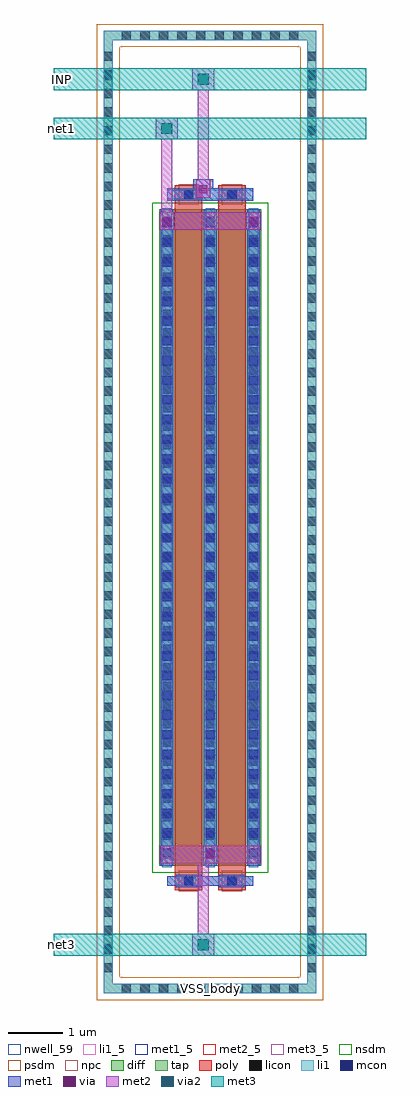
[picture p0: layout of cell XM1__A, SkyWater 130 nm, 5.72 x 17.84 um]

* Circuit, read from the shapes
.subckt XM1__A INP VSS_body net1 net3
XM1 net3 INP net1 VSS_body sky130_fd_pr__nfet_01v8 w=12 l=0.5 m=2
.ends

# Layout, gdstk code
import gdstk
lib = gdstk.Library(unit=1e-6, precision=1e-09)
def R(c, l, rs):  # rectangles x0, y0, x1, y1
    for r in rs: c.add(gdstk.rectangle(r[:2], r[2:], *l))
def A(c, l, x, y, w, h, nx, ny, dx, dy):  # array of equal rectangles
    R(c, l, [(x+i*dx, y+j*dy, x+i*dx+w, y+j*dy+h) for i in range(nx) for j in range(ny)])
nwell_59 = (64, 59)
diff = (65, 20)
tap = (65, 44)
poly = (66, 20)
licon = (66, 44)
li1_5 = (67, 5)
li1 = (67, 20)
mcon = (67, 44)
met1_5 = (68, 5)
met1 = (68, 20)
via = (68, 44)
met2_5 = (69, 5)
met2 = (69, 20)
via2 = (69, 44)
met3_5 = (70, 5)
met3 = (70, 20)
nsdm = (93, 44)
psdm = (94, 20)
npc = (95, 20)

sky130_fd_pr__nfet_01v8_ = lib.new_cell('sky130_fd_pr__nfet_01v8_BXZS2L')
R(sky130_fd_pr__nfet_01v8_, diff, [(-0.935,-6,0.935,6)])
R(sky130_fd_pr__nfet_01v8_, poly, [(-0.645,-6.44,-0.145,6.44), (0.145,-6.44,0.645,6.44)])
A(sky130_fd_pr__nfet_01v8_, licon, -0.875, -5.865, 0.17, 0.17, 3, 35, 0.79, 0.34)
R(sky130_fd_pr__nfet_01v8_, licon, [(-0.48,-6.36,-0.31,-6.19), (0.31,-6.36,0.48,-6.19), (-0.48,6.19,-0.31,6.36), (0.31,6.19,0.48,6.36)])
A(sky130_fd_pr__nfet_01v8_, li1, -0.875, -6.02, 0.17, 12.04, 3, 1, 0.79, 0)
R(sky130_fd_pr__nfet_01v8_, li1, [(-0.79,-6.36,0.79,-6.19), (-0.79,6.19,0.79,6.36)])
A(sky130_fd_pr__nfet_01v8_, mcon, -0.875, -5.845, 0.17, 0.17, 3, 33, 0.79, 0.36)
R(sky130_fd_pr__nfet_01v8_, mcon, [(-0.48,-6.36,-0.31,-6.19), (0.31,-6.36,0.48,-6.19), (-0.48,6.19,-0.31,6.36), (0.31,6.19,0.48,6.36)])
A(sky130_fd_pr__nfet_01v8_, met1, -0.905, -6, 0.23, 12, 3, 1, 0.79, 0)
R(sky130_fd_pr__nfet_01v8_, met1, [(-0.625,-6.39,-0.165,-6.36), (0.165,-6.39,0.625,-6.36), (-0.79,-6.36,0.79,-6.19), (-0.625,-6.19,-0.165,-6.16), (0.165,-6.19,0.625,-6.16), (-0.625,6.16,-0.165,6.19), (0.165,6.16,0.625,6.19), (-0.79,6.19,0.79,6.36), (-0.625,6.36,-0.165,6.39), (0.165,6.36,0.625,6.39)])
R(sky130_fd_pr__nfet_01v8_, nsdm, [(-1.06,-6.125,1.06,6.125)])
R(sky130_fd_pr__nfet_01v8_, npc, [(-0.58,-6.46,-0.21,-6.09), (0.21,-6.46,0.58,-6.09), (-0.58,6.09,-0.21,6.46), (0.21,6.09,0.58,6.46)])
sky130_fd_pr__nfet_01v8_.add(gdstk.Label('D0', (-0.79,0), layer=67, texttype=5))
sky130_fd_pr__nfet_01v8_.add(gdstk.Label('G', (0.395,6.275), layer=67, texttype=5))
sky130_fd_pr__nfet_01v8_.add(gdstk.Label('G', (-0.395,6.275), layer=67, texttype=5))
sky130_fd_pr__nfet_01v8_.add(gdstk.Label('S1', (0,0), layer=67, texttype=5))

nfet_01v8_w24_l0p5_m1__n = lib.new_cell('nfet_01v8_W24_L0p5_m1__nf2_gboth_sdfull_outS_ng')
R(nfet_01v8_w24_l0p5_m1__n, nwell_59, [(0.05,6.39,0.15,6.49)])
R(nfet_01v8_w24_l0p5_m1__n, met1_5, [(0.145,12.6,1.725,12.83)])
R(nfet_01v8_w24_l0p5_m1__n, met1, [(0.805,0.49,1.065,0.81), (0.015,12.07,0.275,12.39), (1.595,12.07,1.855,12.39), (0.145,12.6,1.725,12.83)])
R(nfet_01v8_w24_l0p5_m1__n, via, [(0.86,0.575,1.01,0.725), (0.07,12.155,0.22,12.305), (1.65,12.155,1.8,12.305)])
R(nfet_01v8_w24_l0p5_m1__n, met2_5, [(0.01,0.49,1.86,0.81), (0.01,12.07,1.86,12.39)])
R(nfet_01v8_w24_l0p5_m1__n, met2, [(0.01,0.49,1.86,0.81), (0.01,12.07,1.86,12.39)])
nfet_01v8_w24_l0p5_m1__n.add(gdstk.Reference(sky130_fd_pr__nfet_01v8_, (0.935,6.44)))
nfet_01v8_w24_l0p5_m1__n.add(gdstk.Label('S', (0.935,12.23), layer=69, texttype=5))
nfet_01v8_w24_l0p5_m1__n.add(gdstk.Label('D', (0.935,0.65), layer=69, texttype=5))
nfet_01v8_w24_l0p5_m1__n.add(gdstk.Label('G', (0.935,12.715), layer=68, texttype=5))
nfet_01v8_w24_l0p5_m1__n.add(gdstk.Label('B', (0.1,6.44), layer=64, texttype=59))

xm1__a = lib.new_cell('XM1__A')
R(xm1__a, tap, [(-0.885,-1.885,3.005,-1.715), (-0.885,-1.715,-0.715,15.535), (2.835,-1.715,3.005,15.535), (-0.885,15.535,3.005,15.705)])
A(xm1__a, licon, -0.555, -1.885, 0.17, 0.17, 10, 2, 0.34, 17.42)
A(xm1__a, licon, -0.885, -1.505, 0.17, 0.17, 1, 50, 0, 0.34)
A(xm1__a, licon, 2.835, -1.505, 0.17, 0.17, 1, 50, 0, 0.34)
R(xm1__a, li1_5, [(1.01,-1.85,1.11,-1.75)])
R(xm1__a, li1, [(-0.885,-1.885,3.005,-1.715), (-0.885,-1.715,-0.715,15.535), (2.835,-1.715,3.005,15.535), (-0.885,15.535,3.005,15.705)])
R(xm1__a, met1, [(0.755,12.63,1.115,12.99)])
R(xm1__a, via, [(0.86,12.735,1.01,12.885)])
R(xm1__a, met2, [(0.735,-1.2,1.135,-0.8), (0.835,-0.8,1.035,0.59), (0.17,12.29,0.37,13.72), (0.805,12.65,1.065,12.97), (0.835,12.97,1.035,14.62), (0.07,13.72,0.47,14.12), (0.735,14.62,1.135,15.02)])
R(xm1__a, via2, [(0.835,-1.1,1.035,-0.9), (0.17,13.82,0.37,14.02), (0.835,14.72,1.035,14.92)])
R(xm1__a, met3_5, [(-1.7,-1.05,-1.6,-0.95), (-1.7,13.87,-1.6,13.97), (-1.7,14.77,-1.6,14.87)])
R(xm1__a, met3, [(-1.8,-1.2,3.92,-0.8), (-1.8,13.72,3.92,14.12), (-1.8,14.62,3.92,15.02)])
R(xm1__a, psdm, [(-1.01,-2.01,3.13,-1.59), (-1.01,-1.59,-0.59,15.41), (2.71,-1.59,3.13,15.41), (-1.01,15.41,3.13,15.83)])
xm1__a.add(gdstk.Reference(nfet_01v8_w24_l0p5_m1__n, (0.13,0)))
xm1__a.add(gdstk.Label('net1', (-1.65,13.92), layer=70, texttype=5))
xm1__a.add(gdstk.Label('INP', (-1.65,14.82), layer=70, texttype=5))
xm1__a.add(gdstk.Label('net3', (-1.65,-1), layer=70, texttype=5))
xm1__a.add(gdstk.Label('VSS_body', (1.06,-1.8), layer=67, texttype=5))

lib.write_gds('XM1__A.gds')
